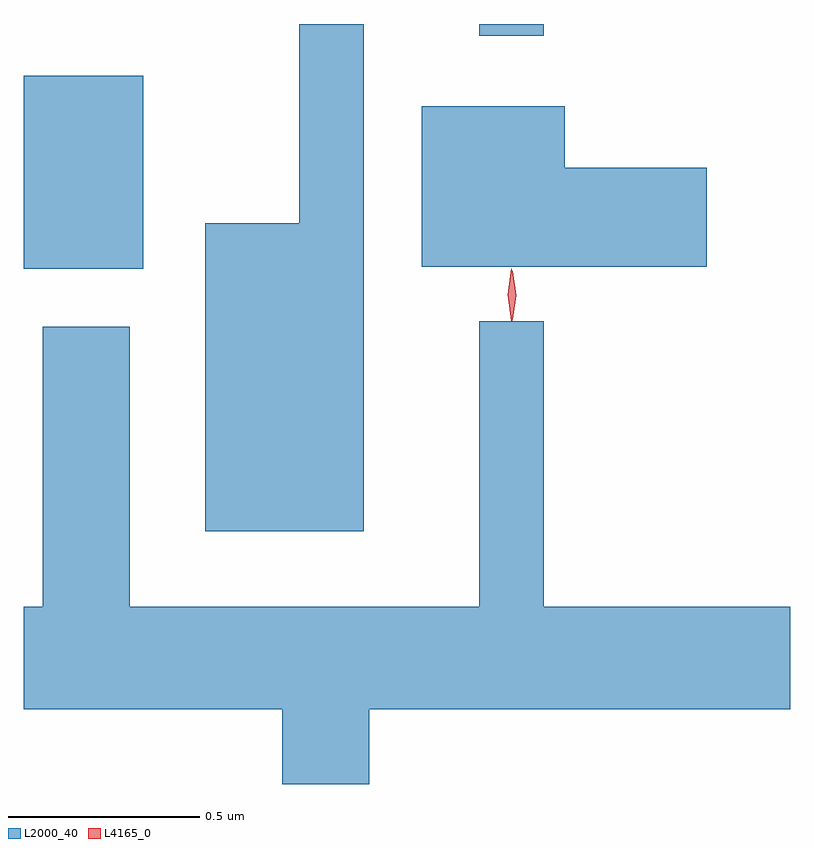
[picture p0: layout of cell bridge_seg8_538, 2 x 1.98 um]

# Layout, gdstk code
import gdstk
lib = gdstk.Library(unit=1e-6, precision=1e-09)
def R(c, l, rs):  # rectangles x0, y0, x1, y1
    for r in rs: c.add(gdstk.rectangle(r[:2], r[2:], *l))
def P(c, l, *ps):  # polygons
    for p in ps: c.add(gdstk.Polygon(p, *l))
L2000_40 = (2000, 40)
L4165_0 = (4165, 0)

bridge_seg8_538 = lib.new_cell('bridge_seg8_538')
R(bridge_seg8_538, L2000_40, [(270.322,1844.226,270.634,1844.729), (271.511,1844.833,271.679,1844.864)])
P(bridge_seg8_538, L2000_40, [(271.209,1844.864),(271.041,1844.864),(271.041,1844.344),(270.796,1844.344),(270.796,1843.541),(271.209,1843.541)],
  [(272.104,1844.489),(271.734,1844.489),(271.734,1844.649),(271.361,1844.649),(271.361,1844.231),(272.104,1844.231)],
  [(271.224,1843.076),(272.322,1843.076),(272.322,1843.344),(271.679,1843.344),(271.679,1844.088),(271.511,1844.088),(271.511,1843.344),(270.599,1843.344),(270.599,1844.074),(270.371,1844.074),(270.371,1843.344),(270.322,1843.344),(270.322,1843.076),(270.996,1843.076),(270.996,1842.881),(271.224,1842.881)])
P(bridge_seg8_538, L4165_0, [(271.594,1844.09),(271.585,1844.158),(271.594,1844.225),(271.594,1844.226),(271.595,1844.225),(271.604,1844.158),(271.596,1844.09),(271.595,1844.09)],
  [(271.596,1844.093),(271.587,1844.156),(271.596,1844.219),(271.597,1844.22),(271.598,1844.219),(271.607,1844.156),(271.598,1844.093),(271.597,1844.093)])

lib.write_gds('bridge_seg8_538.gds')
